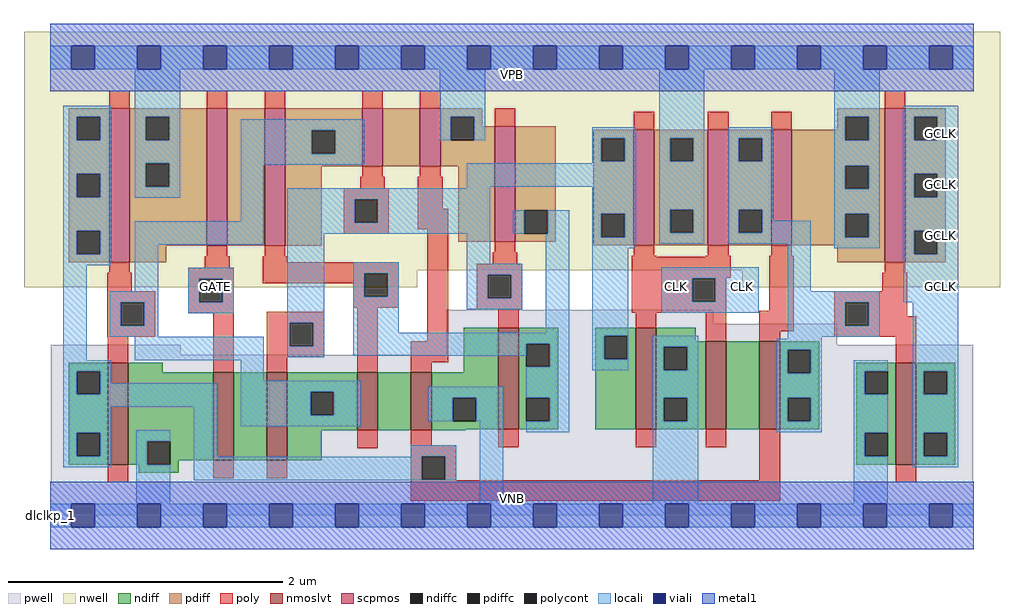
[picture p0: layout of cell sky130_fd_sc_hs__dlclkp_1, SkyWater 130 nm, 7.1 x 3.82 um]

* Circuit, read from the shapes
.subckt sky130_fd_sc_hs__dlclkp_1 CLK GATE VGND VNB VPB VPWR GCLK
XM1 VGND n1 n2 VNB sky130_fd_pr__nfet_01v8_lvt w=0.74 l=0.15
XM2 n3 GATE VGND VNB sky130_fd_pr__nfet_01v8_lvt w=0.64 l=0.15
XM3 n1 n4 n3 VNB sky130_fd_pr__nfet_01v8_lvt w=0.64 l=0.15
XM4 n5 n6 n1 VNB sky130_fd_pr__nfet_01v8_lvt w=0.42 l=0.15
XM5 VGND n2 n5 VNB sky130_fd_pr__nfet_01v8_lvt w=0.42 l=0.15
XM6 n6 n4 VGND VNB sky130_fd_pr__nfet_01v8_lvt w=0.74 l=0.15
XM7 VGND CLK n4 VNB sky130_fd_pr__nfet_01v8_lvt w=0.74 l=0.15
XM8 n7 CLK VGND VNB sky130_fd_pr__nfet_01v8_lvt w=0.64 l=0.15
XM9 n8 n2 n7 VNB sky130_fd_pr__nfet_01v8_lvt w=0.64 l=0.15
XM10 GCLK n8 VGND VNB sky130_fd_pr__nfet_01v8_lvt w=0.74 l=0.15
XM11 VPWR n1 n2 VPB sky130_fd_pr__pfet_01v8 w=1.12 l=0.15
XM12 n9 GATE VPWR VPB sky130_fd_pr__pfet_01v8 w=1 l=0.15
XM13 n1 n6 n9 VPB sky130_fd_pr__pfet_01v8 w=1 l=0.15
XM14 n10 n4 n1 VPB sky130_fd_pr__pfet_01v8 w=0.42 l=0.15
XM15 VPWR n2 n10 VPB sky130_fd_pr__pfet_01v8 w=0.42 l=0.15
XM16 n6 n4 VPWR VPB sky130_fd_pr__pfet_01v8 w=0.84 l=0.15
XM17 VPWR CLK n4 VPB sky130_fd_pr__pfet_01v8 w=0.84 l=0.15
XM18 n8 CLK VPWR VPB sky130_fd_pr__pfet_01v8 w=0.84 l=0.15
XM19 VPWR n2 n8 VPB sky130_fd_pr__pfet_01v8 w=0.84 l=0.15
XM20 GCLK n8 VPWR VPB sky130_fd_pr__pfet_01v8 w=1.12 l=0.15
.ends

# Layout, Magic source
magic
tech sky130A
magscale 1 2
<< nwell >>
rect -38 357 1382 704
rect -38 332 534 357
rect 1007 332 1382 357
<< pwell >>
rect 576 279 965 299
rect 576 248 1145 279
rect 1 234 190 248
rect 576 234 1343 248
rect 1 49 1343 234
rect 0 0 1344 49
<< scpmos >>
rect 86 368 116 592
rect 228 392 258 592
rect 312 392 342 592
rect 454 508 484 592
rect 538 508 568 592
rect 647 398 677 566
rect 849 393 879 561
rect 957 393 987 561
rect 1049 393 1079 561
rect 1214 368 1244 592
<< nmoslvt >>
rect 84 74 114 222
rect 237 80 267 208
rect 315 80 345 208
rect 447 124 477 208
rect 525 124 555 208
rect 652 125 682 273
rect 852 125 882 273
rect 954 125 984 253
rect 1032 125 1062 253
rect 1230 74 1260 222
<< ndiff >>
rect 27 210 84 222
rect 27 176 39 210
rect 73 176 84 210
rect 27 120 84 176
rect 27 86 39 120
rect 73 86 84 120
rect 27 74 84 86
rect 114 208 164 222
rect 602 208 652 273
rect 114 108 237 208
rect 114 74 141 108
rect 175 80 237 108
rect 267 80 315 208
rect 345 180 447 208
rect 345 146 379 180
rect 413 146 447 180
rect 345 124 447 146
rect 477 124 525 208
rect 555 171 652 208
rect 555 137 586 171
rect 620 137 652 171
rect 555 125 652 137
rect 682 250 739 273
rect 682 216 693 250
rect 727 216 739 250
rect 682 171 739 216
rect 682 137 693 171
rect 727 137 739 171
rect 682 125 739 137
rect 793 261 852 273
rect 793 227 806 261
rect 840 227 852 261
rect 793 125 852 227
rect 882 253 939 273
rect 882 245 954 253
rect 882 211 893 245
rect 927 211 954 245
rect 882 171 954 211
rect 882 137 893 171
rect 927 137 954 171
rect 882 125 954 137
rect 984 125 1032 253
rect 1062 241 1119 253
rect 1062 207 1073 241
rect 1107 207 1119 241
rect 1062 171 1119 207
rect 1062 137 1073 171
rect 1107 137 1119 171
rect 1062 125 1119 137
rect 1173 210 1230 222
rect 1173 176 1185 210
rect 1219 176 1230 210
rect 555 124 605 125
rect 345 80 395 124
rect 175 74 187 80
rect 129 62 187 74
rect 1173 120 1230 176
rect 1173 86 1185 120
rect 1219 86 1230 120
rect 1173 74 1230 86
rect 1260 210 1317 222
rect 1260 176 1271 210
rect 1305 176 1317 210
rect 1260 120 1317 176
rect 1260 86 1271 120
rect 1305 86 1317 120
rect 1260 74 1317 86
<< pdiff >>
rect 27 580 86 592
rect 27 546 39 580
rect 73 546 86 580
rect 27 497 86 546
rect 27 463 39 497
rect 73 463 86 497
rect 27 414 86 463
rect 27 380 39 414
rect 73 380 86 414
rect 27 368 86 380
rect 116 580 228 592
rect 116 546 139 580
rect 173 546 228 580
rect 116 512 228 546
rect 116 478 139 512
rect 173 478 228 512
rect 116 392 228 478
rect 258 392 312 592
rect 342 560 454 592
rect 342 526 381 560
rect 415 526 454 560
rect 342 508 454 526
rect 484 508 538 592
rect 568 580 629 592
rect 568 546 583 580
rect 617 566 629 580
rect 617 546 647 566
rect 568 508 647 546
rect 342 392 395 508
rect 116 368 169 392
rect 594 398 647 508
rect 677 444 736 566
rect 1145 580 1214 592
rect 1145 561 1157 580
rect 677 410 690 444
rect 724 410 736 444
rect 677 398 736 410
rect 790 549 849 561
rect 790 515 802 549
rect 836 515 849 549
rect 790 439 849 515
rect 790 405 802 439
rect 836 405 849 439
rect 790 393 849 405
rect 879 549 957 561
rect 879 515 902 549
rect 936 515 957 549
rect 879 445 957 515
rect 879 411 902 445
rect 936 411 957 445
rect 879 393 957 411
rect 987 549 1049 561
rect 987 515 1002 549
rect 1036 515 1049 549
rect 987 445 1049 515
rect 987 411 1002 445
rect 1036 411 1049 445
rect 987 393 1049 411
rect 1079 546 1157 561
rect 1191 546 1214 580
rect 1079 509 1214 546
rect 1079 475 1157 509
rect 1191 475 1214 509
rect 1079 439 1214 475
rect 1079 405 1157 439
rect 1191 405 1214 439
rect 1079 393 1214 405
rect 1145 368 1214 393
rect 1244 580 1303 592
rect 1244 546 1257 580
rect 1291 546 1303 580
rect 1244 497 1303 546
rect 1244 463 1257 497
rect 1291 463 1303 497
rect 1244 414 1303 463
rect 1244 380 1257 414
rect 1291 380 1303 414
rect 1244 368 1303 380
<< ndiffc >>
rect 39 176 73 210
rect 39 86 73 120
rect 141 74 175 108
rect 379 146 413 180
rect 586 137 620 171
rect 693 216 727 250
rect 693 137 727 171
rect 806 227 840 261
rect 893 211 927 245
rect 893 137 927 171
rect 1073 207 1107 241
rect 1073 137 1107 171
rect 1185 176 1219 210
rect 1185 86 1219 120
rect 1271 176 1305 210
rect 1271 86 1305 120
<< pdiffc >>
rect 39 546 73 580
rect 39 463 73 497
rect 39 380 73 414
rect 139 546 173 580
rect 139 478 173 512
rect 381 526 415 560
rect 583 546 617 580
rect 690 410 724 444
rect 802 515 836 549
rect 802 405 836 439
rect 902 515 936 549
rect 902 411 936 445
rect 1002 515 1036 549
rect 1002 411 1036 445
rect 1157 546 1191 580
rect 1157 475 1191 509
rect 1157 405 1191 439
rect 1257 546 1291 580
rect 1257 463 1291 497
rect 1257 380 1291 414
<< poly >>
rect 86 592 116 618
rect 228 592 258 618
rect 312 592 342 618
rect 454 592 484 618
rect 538 592 568 618
rect 1214 592 1244 618
rect 647 566 677 592
rect 454 493 484 508
rect 538 493 568 508
rect 451 476 487 493
rect 427 460 493 476
rect 427 426 443 460
rect 477 426 493 460
rect 427 410 493 426
rect 535 446 571 493
rect 535 416 579 446
rect 228 377 258 392
rect 312 377 342 392
rect 86 353 116 368
rect 225 360 261 377
rect 309 368 345 377
rect 83 326 119 353
rect 201 344 267 360
rect 83 310 153 326
rect 83 276 103 310
rect 137 276 153 310
rect 201 310 217 344
rect 251 310 267 344
rect 309 352 507 368
rect 309 338 457 352
rect 201 294 267 310
rect 441 318 457 338
rect 491 318 507 352
rect 441 302 507 318
rect 83 260 153 276
rect 84 222 114 260
rect 237 208 267 294
rect 315 280 399 296
rect 315 246 349 280
rect 383 246 399 280
rect 315 230 399 246
rect 315 208 345 230
rect 447 208 477 302
rect 549 253 579 416
rect 849 561 879 587
rect 957 561 987 587
rect 1049 561 1079 587
rect 647 383 677 398
rect 644 366 680 383
rect 849 378 879 393
rect 957 378 987 393
rect 1049 378 1079 393
rect 846 376 882 378
rect 954 376 990 378
rect 621 350 687 366
rect 621 316 637 350
rect 671 316 687 350
rect 621 300 687 316
rect 846 346 990 376
rect 846 345 984 346
rect 846 311 934 345
rect 968 311 984 345
rect 652 273 682 300
rect 846 295 984 311
rect 1046 298 1082 378
rect 1214 353 1244 368
rect 1211 326 1247 353
rect 852 273 882 295
rect 525 223 579 253
rect 525 208 555 223
rect 954 253 984 295
rect 1032 268 1082 298
rect 1141 310 1247 326
rect 1141 276 1157 310
rect 1191 290 1247 310
rect 1191 276 1260 290
rect 1032 253 1062 268
rect 1141 260 1260 276
rect 1230 222 1260 260
rect 447 98 477 124
rect 525 102 555 124
rect 525 86 591 102
rect 652 99 682 125
rect 852 99 882 125
rect 954 99 984 125
rect 84 48 114 74
rect 237 54 267 80
rect 315 54 345 80
rect 525 52 541 86
rect 575 52 591 86
rect 525 51 591 52
rect 1032 51 1062 125
rect 525 21 1062 51
rect 1230 48 1260 74
<< polycont >>
rect 443 426 477 460
rect 103 276 137 310
rect 217 310 251 344
rect 457 318 491 352
rect 349 246 383 280
rect 637 316 671 350
rect 934 311 968 345
rect 1157 276 1191 310
rect 541 52 575 86
<< locali >>
rect 0 649 31 683
rect 65 649 127 683
rect 161 649 223 683
rect 257 649 319 683
rect 353 649 415 683
rect 449 649 511 683
rect 545 649 607 683
rect 641 649 703 683
rect 737 649 799 683
rect 833 649 895 683
rect 929 649 991 683
rect 1025 649 1087 683
rect 1121 649 1183 683
rect 1217 649 1279 683
rect 1313 649 1344 683
rect 19 580 89 596
rect 19 546 39 580
rect 73 546 89 580
rect 19 497 89 546
rect 19 463 39 497
rect 73 463 89 497
rect 19 414 89 463
rect 123 580 189 649
rect 123 546 139 580
rect 173 546 189 580
rect 567 580 633 649
rect 123 512 189 546
rect 123 478 139 512
rect 173 478 189 512
rect 123 462 189 478
rect 277 560 457 576
rect 277 526 381 560
rect 415 526 457 560
rect 567 546 583 580
rect 617 546 633 580
rect 789 549 852 565
rect 277 510 457 526
rect 789 515 802 549
rect 836 515 852 549
rect 789 512 852 515
rect 277 428 311 510
rect 606 478 852 512
rect 606 476 640 478
rect 19 380 39 414
rect 73 380 89 414
rect 19 364 89 380
rect 123 394 311 428
rect 345 460 640 476
rect 345 426 443 460
rect 477 426 640 460
rect 345 410 640 426
rect 674 410 690 444
rect 724 410 755 444
rect 19 226 53 364
rect 123 326 157 394
rect 87 310 157 326
rect 87 276 103 310
rect 137 276 157 310
rect 201 344 267 360
rect 201 310 217 344
rect 251 310 267 344
rect 201 294 267 310
rect 87 260 157 276
rect 345 280 399 410
rect 123 226 311 260
rect 345 246 349 280
rect 383 246 399 280
rect 345 230 399 246
rect 441 352 507 368
rect 441 318 457 352
rect 491 318 507 352
rect 441 266 507 318
rect 606 366 640 410
rect 606 350 687 366
rect 606 316 637 350
rect 671 316 687 350
rect 606 300 687 316
rect 721 266 755 410
rect 441 250 755 266
rect 441 232 693 250
rect 19 210 89 226
rect 19 176 39 210
rect 73 192 89 210
rect 277 196 311 226
rect 727 216 755 250
rect 73 176 243 192
rect 19 158 243 176
rect 19 120 89 158
rect 19 86 39 120
rect 73 86 89 120
rect 19 70 89 86
rect 125 108 175 124
rect 125 74 141 108
rect 125 17 175 74
rect 209 85 243 158
rect 277 180 452 196
rect 277 146 379 180
rect 413 146 452 180
rect 277 130 452 146
rect 550 171 659 187
rect 550 137 586 171
rect 620 137 659 171
rect 525 86 591 102
rect 525 85 541 86
rect 209 52 541 85
rect 575 52 591 86
rect 209 51 591 52
rect 625 17 659 137
rect 693 171 755 216
rect 789 439 852 478
rect 789 405 802 439
rect 836 405 852 439
rect 789 389 852 405
rect 886 549 952 649
rect 1141 580 1207 649
rect 886 515 902 549
rect 936 515 952 549
rect 886 445 952 515
rect 886 411 902 445
rect 936 411 952 445
rect 886 395 952 411
rect 986 549 1052 565
rect 986 515 1002 549
rect 1036 515 1052 549
rect 986 445 1052 515
rect 986 411 1002 445
rect 1036 429 1052 445
rect 1141 546 1157 580
rect 1191 546 1207 580
rect 1141 509 1207 546
rect 1141 475 1157 509
rect 1191 475 1207 509
rect 1141 439 1207 475
rect 1036 411 1107 429
rect 986 395 1107 411
rect 789 261 841 389
rect 889 345 1031 361
rect 889 311 934 345
rect 968 311 1031 345
rect 889 295 1031 311
rect 1073 326 1107 395
rect 1141 405 1157 439
rect 1191 405 1207 439
rect 1141 389 1207 405
rect 1241 580 1321 596
rect 1241 546 1257 580
rect 1291 546 1321 580
rect 1241 497 1321 546
rect 1241 463 1257 497
rect 1291 463 1321 497
rect 1241 414 1321 463
rect 1241 380 1257 414
rect 1291 380 1321 414
rect 1073 310 1207 326
rect 1241 310 1321 380
rect 1073 276 1157 310
rect 1191 276 1207 310
rect 789 227 806 261
rect 840 227 841 261
rect 789 211 841 227
rect 877 245 943 261
rect 1073 260 1207 276
rect 1073 257 1123 260
rect 877 211 893 245
rect 927 211 943 245
rect 727 137 755 171
rect 693 121 755 137
rect 877 171 943 211
rect 877 137 893 171
rect 927 137 943 171
rect 877 17 943 137
rect 1057 241 1123 257
rect 1057 207 1073 241
rect 1107 207 1123 241
rect 1057 171 1123 207
rect 1057 137 1073 171
rect 1107 137 1123 171
rect 1057 121 1123 137
rect 1169 210 1219 226
rect 1169 176 1185 210
rect 1169 120 1219 176
rect 1169 86 1185 120
rect 1169 17 1219 86
rect 1255 210 1321 310
rect 1255 176 1271 210
rect 1305 176 1321 210
rect 1255 120 1321 176
rect 1255 86 1271 120
rect 1305 86 1321 120
rect 1255 70 1321 86
rect 0 -17 31 17
rect 65 -17 127 17
rect 161 -17 223 17
rect 257 -17 319 17
rect 353 -17 415 17
rect 449 -17 511 17
rect 545 -17 607 17
rect 641 -17 703 17
rect 737 -17 799 17
rect 833 -17 895 17
rect 929 -17 991 17
rect 1025 -17 1087 17
rect 1121 -17 1183 17
rect 1217 -17 1279 17
rect 1313 -17 1344 17
<< viali >>
rect 31 649 65 683
rect 127 649 161 683
rect 223 649 257 683
rect 319 649 353 683
rect 415 649 449 683
rect 511 649 545 683
rect 607 649 641 683
rect 703 649 737 683
rect 799 649 833 683
rect 895 649 929 683
rect 991 649 1025 683
rect 1087 649 1121 683
rect 1183 649 1217 683
rect 1279 649 1313 683
rect 31 -17 65 17
rect 127 -17 161 17
rect 223 -17 257 17
rect 319 -17 353 17
rect 415 -17 449 17
rect 511 -17 545 17
rect 607 -17 641 17
rect 703 -17 737 17
rect 799 -17 833 17
rect 895 -17 929 17
rect 991 -17 1025 17
rect 1087 -17 1121 17
rect 1183 -17 1217 17
rect 1279 -17 1313 17
<< metal1 >>
rect 0 683 1344 715
rect 0 649 31 683
rect 65 649 127 683
rect 161 649 223 683
rect 257 649 319 683
rect 353 649 415 683
rect 449 649 511 683
rect 545 649 607 683
rect 641 649 703 683
rect 737 649 799 683
rect 833 649 895 683
rect 929 649 991 683
rect 1025 649 1087 683
rect 1121 649 1183 683
rect 1217 649 1279 683
rect 1313 649 1344 683
rect 0 617 1344 649
rect 0 17 1344 49
rect 0 -17 31 17
rect 65 -17 127 17
rect 161 -17 223 17
rect 257 -17 319 17
rect 353 -17 415 17
rect 449 -17 511 17
rect 545 -17 607 17
rect 641 -17 703 17
rect 737 -17 799 17
rect 833 -17 895 17
rect 929 -17 991 17
rect 1025 -17 1087 17
rect 1121 -17 1183 17
rect 1217 -17 1279 17
rect 1313 -17 1344 17
rect 0 -49 1344 -17
<< labels >>
rlabel comment s 0 0 0 0 4 dlclkp_1
flabel pwell s 0 0 1344 49 0 FreeSans 200 0 0 0 VNB
port 4 nsew ground bidirectional
flabel nwell s 0 617 1344 666 0 FreeSans 200 0 0 0 VPB
port 5 nsew power bidirectional
flabel metal1 s 0 617 1344 666 0 FreeSans 340 0 0 0 VPWR
port 6 nsew power bidirectional
flabel metal1 s 0 0 1344 49 0 FreeSans 340 0 0 0 VGND
port 3 nsew ground bidirectional
flabel locali s 1279 316 1313 350 0 FreeSans 340 0 0 0 GCLK
port 7 nsew signal output
flabel locali s 1279 390 1313 424 0 FreeSans 340 0 0 0 GCLK
port 7 nsew signal output
flabel locali s 1279 464 1313 498 0 FreeSans 340 0 0 0 GCLK
port 7 nsew signal output
flabel locali s 1279 538 1313 572 0 FreeSans 340 0 0 0 GCLK
port 7 nsew signal output
flabel locali s 223 316 257 350 0 FreeSans 340 0 0 0 GATE
port 2 nsew signal input
flabel locali s 895 316 929 350 0 FreeSans 340 0 0 0 CLK
port 1 nsew clock input
flabel locali s 991 316 1025 350 0 FreeSans 340 0 0 0 CLK
port 1 nsew clock input
<< properties >>
string LEFsite unit
string LEFclass CORE
string FIXED_BBOX 0 0 1344 666
string GDS_FILE $PDKPATH/libs.ref/sky130_fd_sc_hs/gds/sky130_fd_sc_hs.gds
string LEFsymmetry X Y
string GDS_END 2571036
string GDS_START 2560270
<< end >>
